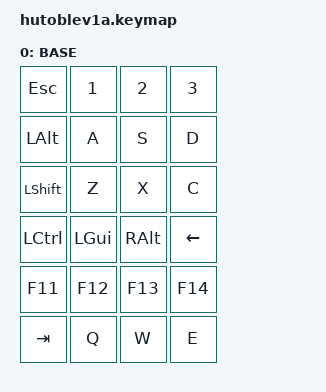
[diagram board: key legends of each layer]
#include <behaviors.dtsi>
#include <dt-bindings/zmk/keys.h>
#include <dt-bindings/zmk/outputs.h>

#define BASE 0

/ {
   keymap {
        compatible = "zmk,keymap";
        base_layer {
            label= "BASE";
                bindings = <
                /*Row 1*/
                &kp ESC     &kp N1      &kp N2      &kp N3
                /*Row 3*/
                &kp LALT    &kp A       &kp S       &kp D
                /*Row 4*/
                &kp LSHIFT  &kp Z       &kp X       &kp C
                /*Row 5*/
                &kp LCTRL   &kp LGUI   &kp RALT     &kp LEFT
                /*Row 6*/
                &kp F11     &kp F12    &kp F13      &kp F14
                /*Row 2*/
                &kp TAB     &kp Q       &kp W       &kp E
                        >;
                };
        };
};
